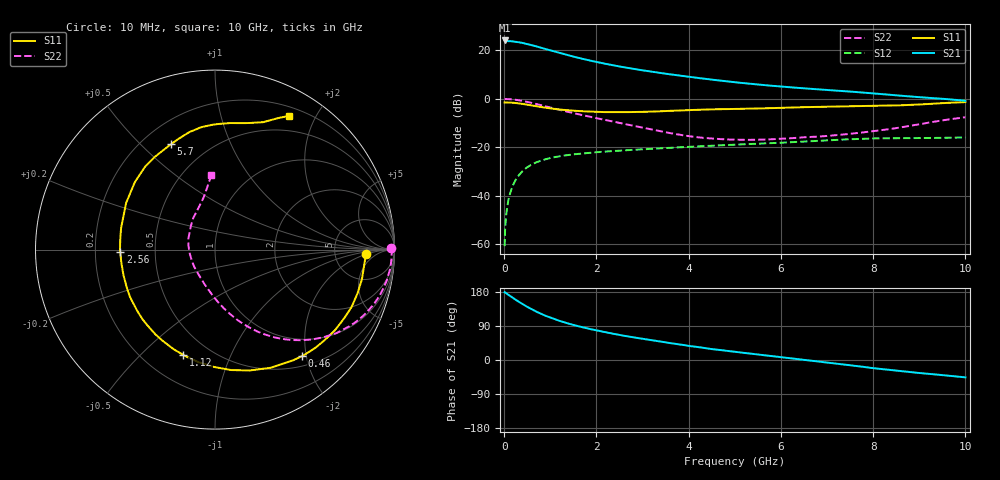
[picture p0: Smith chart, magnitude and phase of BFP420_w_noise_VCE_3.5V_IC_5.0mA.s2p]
! Infineon Technologies  Discrete & RF Semiconductors
! BFP420
! VCE =  3.5 V,  IC =  5.0 mA
! Common Emitter S-Parameters:  Jan 2016
# GHz  S  MA  R  50
!  f  S11  S21  S12  S22
! GHz  MAG  ANG  MAG  ANG  MAG  ANG  MAG  ANG
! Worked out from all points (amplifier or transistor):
!   233 points, 10 MHz to 10 GHz, reference 50 ohm
!   highest |S21| = 24.1 dB at 10 MHz (marker M1)
!   |S21| within 3 dB of that: start of sweep to 796.6 MHz
!   unconditionally stable (mu >= 1): 3.022 GHz to end of sweep
!   at 200 MHz: K = 0.10, MSG = 29.5 dB, |S12| = -35.4 dB
!   at 1.74 GHz: K = 0.60, MSG = 19.4 dB, |S12| = -22.5 dB
!   at 10 GHz: K = 1.12, MAG = 5.4 dB, |S12| = -16.0 dB
!   lowest NFmin = 0.66 dB at 900 MHz
!   S11 on the Smith chart (normalised r, x): 10 MHz: 11, -2; 460 MHz: 0.67, -1.92; 1.12 GHz: 0.36, -0.68; 2.56 GHz: 0.31, -0.01; 5.7 GHz: 0.31, +0.62; 10 GHz: 0.30, +1.66
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0.01  0.8393 -1.5  16 179.0  0.0009 53.5  0.982 0.4
0.02  0.8395 -2.7  15.56 178.3  0.0019 71.2  0.9849 -1.2
0.08  0.8344 -9.1  15.56 173.0  0.007 81.2  0.9824 -5.1
0.15  0.8305 -17.2  15.44 167.2  0.0129 79.4  0.9741 -9.6
0.26  0.8121 -29.5  14.96 158.1  0.0219 73.7  0.9484 -16.4
0.36  0.7902 -40.4  14.44 150.5  0.0292 68.7  0.9164 -22.2
0.46  0.7655 -50.9  13.78 143.1  0.0359 64.0  0.8786 -27.6
0.6  0.7281 -64.7  12.78 133.6  0.0439 58.0  0.8203 -34.6
0.7  0.7006 -74.0  12.05 127.4  0.0487 54.2  0.7776 -38.9
0.9  0.6536 -90.6  10.62 116.6  0.0564 47.9  0.6965 -46.5
1.12  0.6122 -107.0  9.261 106.7  0.0628 42.6  0.6171 -53.5
1.4  0.5773 -125.1  7.842 95.9  0.069 37.5  0.5317 -61.1
1.68  0.5532 -140.4  6.744 87.0  0.0738 33.7  0.4623 -67.3
2.02  0.5356 -156.3  5.703 77.7  0.0788 30.3  0.3946 -74.0
2.56  0.5282 -178.6  4.538 64.9  0.0853 26.0  0.3077 -84.5
3.4  0.5522 155.0  3.393 48.4  0.0946 21.0  0.2119 -103.3
4  0.5838 139.9  2.843 37.3  0.1015 17.9  0.1687 -121.8
5.1  0.6179 121.3  2.143 20.1  0.1135 12.1  0.1419 -159.1
5.7  0.6361 112.7  1.89 11.8  0.1199 9.1  0.144 -178.7
6.8  0.6789 98.8  1.565 -3.8  0.1348 2.9  0.1652 151.1
8.4  0.7225 77.2  1.197 -26.8  0.1524 -11.0  0.2395 114.5
10  0.8529 60.9  0.908 -45.8  0.1588 -20.8  0.4156 92.8
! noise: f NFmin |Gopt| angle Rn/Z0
0.9  0.66  0.21  31  0.15
1.8  1.05  0.09  93  0.13
2.4  1.14  0.14  119  0.13
3  1.24  0.17  165  0.11
4  1.41  0.31  -145  0.12
5  1.85  0.38  -119  0.21
6  2.3  0.45  -101  0.36
